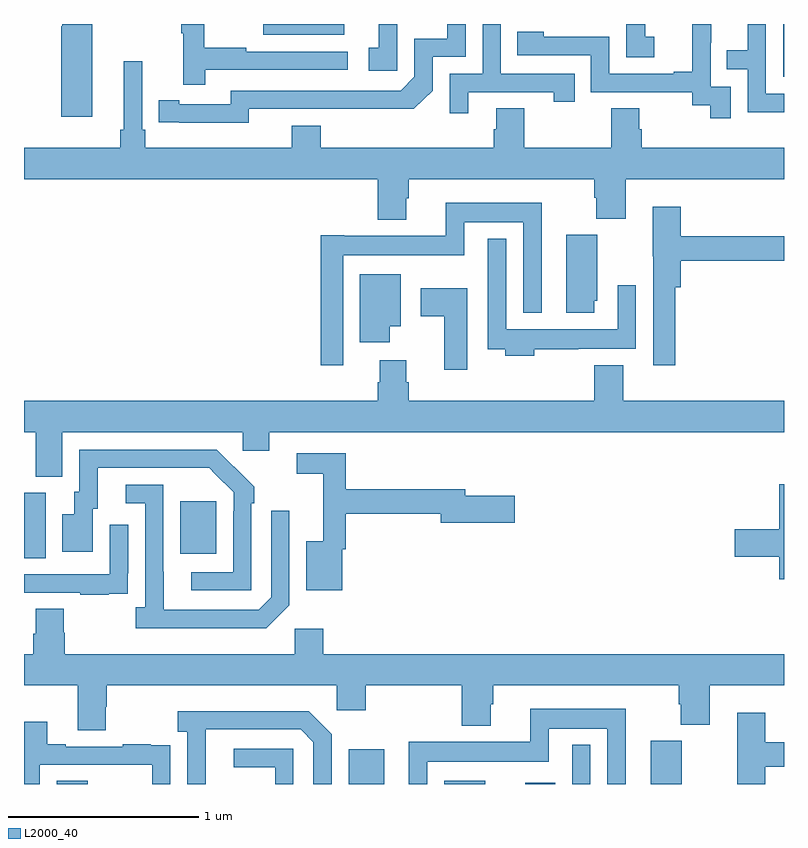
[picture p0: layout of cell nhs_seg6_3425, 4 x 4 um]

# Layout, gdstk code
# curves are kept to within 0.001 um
import gdstk
lib = gdstk.Library(unit=1e-6, precision=1e-09)
def R(c, l, rs):  # rectangles x0, y0, x1, y1
    for r in rs: c.add(gdstk.rectangle(r[:2], r[2:], *l))
def P(c, l, *ps):  # polygons
    for p in ps: c.add(gdstk.Polygon(p, *l))
L2000_40 = (2000, 40)

nhs_seg6_3425 = lib.new_cell('nhs_seg6_3425')
R(nhs_seg6_3425, L2000_40, [(313.172,929.5,313.336,929.516), (314.708,929.5,314.896,929.683), (315.212,929.5,315.427,929.518), (315.638,929.5,315.796,929.506), (315.885,929.5,315.981,929.707), (316.298,929.5,316.462,929.727), (313,930.688,313.114,931.032), (313.823,930.713,314.011,930.988), (316.995,933.222,317,933.5), (314.259,933.443,314.686,933.5)])
P(nhs_seg6_3425, L2000_40, [(314.184,933.054),(315.052,933.053),(315.15,933.15),(315.15,933.327),(315.324,933.327),(315.324,933.5),(315.227,933.5),(315.227,933.423),(315.054,933.423),(315.054,933.222),(314.982,933.15),(314.088,933.15),(314.088,933.078),(313.816,933.078),(313.816,933.098),(313.708,933.098),(313.708,932.982),(314.184,932.981)],
  [(313.36,933.5),(313.202,933.5),(313.202,933.489),(313.196,933.489),(313.196,933.012),(313.36,933.012)],
  [(316.719,933.171),(316.614,933.171),(316.614,933.401),(316.616,933.401),(316.616,933.5),(316.517,933.5),(316.517,933.25),(316.421,933.25),(316.421,933.237),(316.08,933.237),(316.08,933.432),(315.735,933.432),(315.735,933.459),(315.595,933.459),(315.595,933.336),(315.984,933.336),(315.984,933.141),(316.518,933.141),(316.518,933.073),(316.611,933.073),(316.611,933.003),(316.719,933.003)],
  [(316.318,933.433),(316.269,933.433),(316.269,933.5),(316.17,933.5),(316.17,933.324),(316.318,933.324)],
  [(315.337,933.141),(315.788,933.141),(315.788,933.09),(315.899,933.09),(315.899,933.237),(315.51,933.237),(315.51,933.5),(315.414,933.5),(315.414,933.237),(315.24,933.237),(315.24,933.03),(315.337,933.03)],
  [(313.955,933.258),(314.704,933.258),(314.704,933.354),(314.171,933.354),(314.171,933.374),(313.948,933.374),(313.948,933.5),(313.827,933.5),(313.827,933.451),(313.838,933.451),(313.838,933.18),(313.955,933.18)],
  [(317,933.132),(316.905,933.132),(316.905,933.5),(316.809,933.5),(316.809,933.362),(316.699,933.362),(316.699,933.261),(316.809,933.261),(316.809,933.036),(317,933.036)],
  [(314.964,933.5),(314.867,933.5),(314.867,933.375),(314.814,933.375),(314.814,933.255),(314.964,933.255)],
  [(314.561,932.965),(314.408,932.965),(314.408,932.848),(313.637,932.848),(313.637,932.944),(313.623,932.944),(313.623,933.304),(313.526,933.304),(313.526,932.944),(313.507,932.944),(313.507,932.848),(313,932.848),(313,932.684),(314.861,932.684),(314.861,932.471),(315.013,932.471),(315.013,932.583),(315.026,932.583),(315.026,932.684),(316.001,932.684),(316.001,932.585),(316.013,932.585),(316.013,932.476),(316.166,932.476),(316.166,932.684),(317,932.684),(317,932.848),(316.25,932.848),(316.25,932.946),(316.237,932.946),(316.237,933.056),(316.09,933.056),(316.09,932.848),(315.633,932.848),(315.633,933.056),(315.485,933.056),(315.485,932.946),(315.473,932.946),(315.473,932.848),(314.561,932.848)],
  [(314.679,932.282),(315.318,932.282),(315.318,932.456),(315.627,932.456),(315.627,931.979),(315.724,931.979),(315.724,932.56),(315.221,932.56),(315.221,932.386),(314.686,932.386),(314.686,932.389),(314.563,932.389),(314.563,931.704),(314.679,931.704)],
  [(316.427,932.114),(316.457,932.114),(316.457,932.254),(317,932.254),(317,932.383),(316.457,932.383),(316.457,932.539),(316.31,932.539),(316.31,932.277),(316.311,932.277),(316.311,931.704),(316.427,931.704)],
  [(316,932.043),(316.018,932.043),(316.018,932.391),(315.854,932.391),(315.854,931.98),(316,931.98)],
  [(315.686,931.788),(315.917,931.788),(315.917,931.79),(316.221,931.79),(316.221,932.125),(316.125,932.125),(316.125,931.894),(315.537,931.894),(315.537,932.371),(315.441,932.371),(315.441,931.788),(315.533,931.788),(315.533,931.754),(315.686,931.754)],
  [(314.926,931.91),(314.983,931.91),(314.983,932.182),(314.768,932.182),(314.768,931.824),(314.926,931.824)],
  [(315.334,932.11),(315.087,932.11),(315.087,931.963),(315.212,931.963),(315.212,931.68),(315.334,931.68)],
  [(313.201,931.352),(314.151,931.352),(314.151,931.254),(314.29,931.254),(314.29,931.352),(317,931.352),(317,931.516),(316.153,931.516),(316.153,931.705),(316.001,931.705),(316.001,931.516),(315.026,931.516),(315.026,931.614),(315.013,931.614),(315.013,931.729),(314.873,931.729),(314.873,931.614),(314.861,931.614),(314.861,931.516),(313,931.516),(313,931.352),(313.061,931.352),(313.061,931.117),(313.201,931.117)],
  [(314.196,930.977),(314.211,930.977),(314.211,931.065),(314.014,931.26),(313.29,931.26),(313.29,931.038),(313.265,931.038),(313.265,930.919),(313.202,930.919),(313.202,930.723),(313.363,930.723),(313.363,930.948),(313.387,930.948),(313.387,931.164),(313.975,931.164),(314.103,931.035),(314.103,930.935),(314.1,930.935),(314.1,930.615),(313.881,930.615),(313.881,930.519),(314.196,930.519)],
  [(314.674,930.735),(314.693,930.735),(314.693,930.922),(315.194,930.922),(315.194,930.875),(315.583,930.875),(315.583,931.017),(315.322,931.017),(315.322,931.051),(314.693,931.051),(314.693,931.242),(314.436,931.242),(314.436,931.134),(314.576,931.134),(314.576,930.778),(314.486,930.778),(314.486,930.521),(314.674,930.521)],
  [(317,931.077),(316.976,931.077),(316.976,930.842),(316.74,930.842),(316.74,930.695),(316.976,930.695),(316.976,930.578),(317,930.578)],
  [(314.397,930.441),(314.397,930.937),(314.301,930.937),(314.301,930.483),(314.235,930.417),(313.735,930.417),(313.734,931.074),(313.536,931.074),(313.536,930.978),(313.638,930.978),(313.638,930.43),(313.587,930.43),(313.587,930.32),(314.276,930.32)],
  [(313.445,930.501),(313.547,930.501),(313.547,930.61),(313.548,930.61),(313.548,930.865),(313.452,930.865),(313.452,930.603),(313,930.603),(313,930.507),(313.297,930.507),(313.297,930.495),(313.445,930.495)],
  [(313.283,929.782),(313.431,929.782),(313.431,929.907),(313.436,929.907),(313.436,930.02),(314.646,930.02),(314.646,929.889),(314.798,929.889),(314.798,930.02),(315.305,930.02),(315.305,929.807),(315.457,929.807),(315.457,929.919),(315.47,929.919),(315.47,930.02),(316.445,930.02),(316.445,929.921),(316.457,929.921),(316.457,929.812),(316.61,929.812),(316.61,930.02),(317,930.02),(317,930.184),(314.576,930.184),(314.576,930.316),(314.424,930.316),(314.424,930.184),(313.214,930.184),(313.214,930.297),(313.209,930.297),(313.209,930.422),(313.061,930.422),(313.061,930.29),(313.049,930.29),(313.049,930.184),(313,930.184),(313,930.02),(313.283,930.02)],
  [(315.123,929.618),(315.762,929.618),(315.762,929.792),(316.071,929.792),(316.071,929.5),(316.168,929.5),(316.168,929.896),(315.665,929.896),(315.665,929.722),(315.026,929.722),(315.026,929.5),(315.123,929.5)],
  [(313.956,929.587),(313.957,929.787),(314.457,929.787),(314.523,929.721),(314.523,929.5),(314.619,929.5),(314.619,929.763),(314.498,929.884),(313.809,929.884),(313.809,929.774),(313.86,929.774),(313.86,929.5),(313.956,929.5)],
  [(316.901,929.59),(317,929.59),(317,929.719),(316.901,929.719),(316.901,929.875),(316.754,929.875),(316.754,929.613),(316.755,929.613),(316.755,929.5),(316.901,929.5)],
  [(313.083,929.601),(313.674,929.601),(313.674,929.5),(313.77,929.5),(313.77,929.594),(313.769,929.594),(313.769,929.703),(313.667,929.703),(313.667,929.71),(313.519,929.71),(313.519,929.697),(313.219,929.697),(313.219,929.71),(313.123,929.71),(313.123,929.827),(313,929.827),(313,929.5),(313.083,929.5)],
  [(314.418,929.685),(314.103,929.685),(314.103,929.589),(314.322,929.589),(314.322,929.5),(314.418,929.5)])

lib.write_gds('nhs_seg6_3425.gds')
